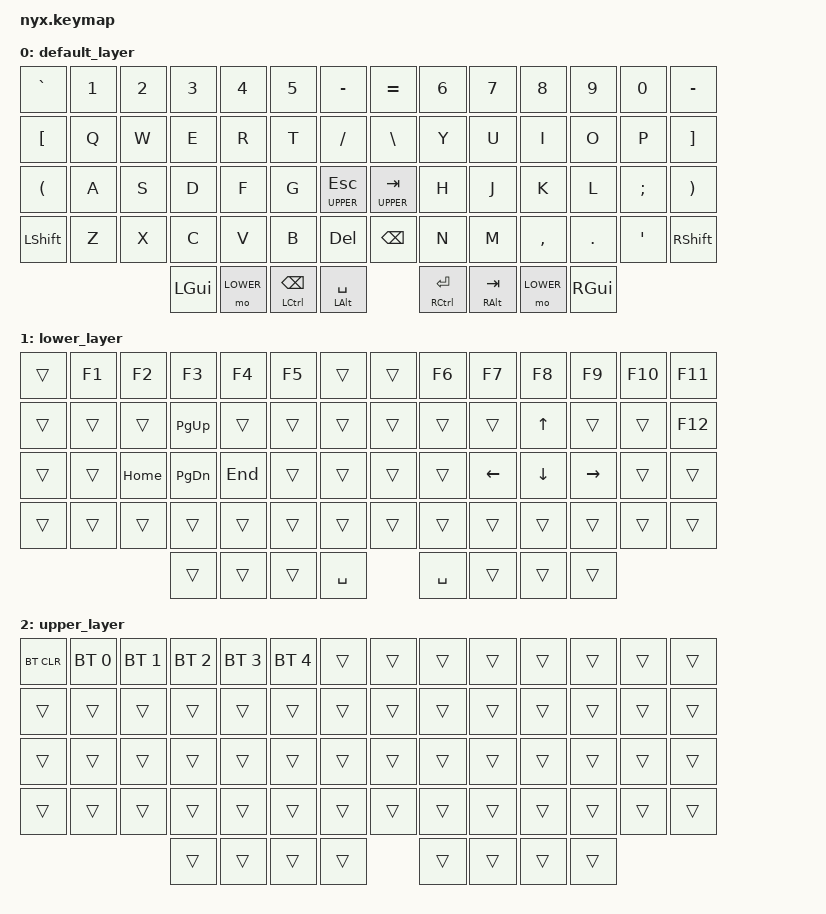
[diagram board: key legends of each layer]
/* -*- mode: dts; -*-
 *
 * Copyright (c) 2020 Tad Fisher
 *
 * SPDX-License-Identifier: MIT
 */

#include <behaviors.dtsi>
#include <dt-bindings/zmk/keys.h>
#include <dt-bindings/zmk/bt.h>
#include <dt-bindings/zmk/outputs.h>

#define DEFAULT 0
#define LOWER   1
#define UPPER   2

/ {
    behaviors {
        // This is mod-tap with the "balanced" flavor.
        // Improves the '&mt RCTRL SPACE' behavior when typing quickly.
        bmt: balanced_mod_tap {
			compatible = "zmk,behavior-hold-tap";
			label = "MOD_TAP";
			#binding-cells = <2>;
			flavor = "balanced";
			tapping-term-ms = <200>;
			bindings = <&kp>, <&kp>;
        };
    };
    keymap {
        compatible = "zmk,keymap";

        default_layer {
            // | `       | 1    | 2    | 3      | 4       | 5       | -          | =              | 6          | 7       | 8       | 9     | 0      | -       |
            // | [       | Q    | W    | E      | R       | T       | //         | \\             | Y          | U       | I       | O     | P      | ]       |
            // | (       | A    | S    | D      | F       | G       | ESC        | TAB            | H          | J       | K       | L     | ;      | )       |
            // | LSHIFT  | Z    | X    | C      | V       | B       | DEL        | BSPC           | N          | M       | ,       | .     | '      | RSHIFT  |
            // |         |      |      | LGUI   | FN      | LCTL    | LALT       | SPC / RCTL     | RET        | RCTL    | RALT    |       |        |         |
            bindings = <
                &kp GRAVE &kp N1 &kp N2 &kp N3   &kp N4    &kp N5    &kp MINUS      &kp EQUAL        &kp N6       &kp N7    &kp N8    &kp N9  &kp N0   &kp MINUS
                &kp LBKT  &kp Q  &kp W  &kp E    &kp R     &kp T     &kp FSLH       &kp BSLH         &kp Y        &kp U     &kp I     &kp O   &kp P    &kp RBKT
                &kp LPAR  &kp A  &kp S  &kp D    &kp F     &kp G     &lt UPPER ESC  &lt UPPER TAB    &kp H        &kp J     &kp K     &kp L   &kp SEMI &kp RPAR
                &kp LSHFT &kp Z  &kp X  &kp C    &kp V     &kp B     &kp DEL        &kp BSPC         &kp N        &kp M     &kp COMMA &kp DOT &kp APOS &kp RSHFT
                                        &kp LGUI &mo LOWER &mt LCTRL BSPC &mt LALT SPACE   &bmt RCTRL ENTER &mt RALT TAB &mo LOWER &kp RGUI
            >;
        };

        lower_layer {
            // |      | F1   | F2     | F3      | F4     | F5  |      |      | F6      | F7     | F8     | F9      | F10   | F11   |
            // |      |      |        | PG UP   |        |     |      |      |         |        | ↑      |         |       | F12   |
            // |      |      | HOME   | PG DOWN | END    |     |      |      |         | ←      | ↓      | →       |       |       |
            // |      |      |        |         |        |     |      |      |         |        |        |         |       |       |
            // |      |      |        |         |        |     |      |      | SPC     |        |        |         |       |       |
            bindings = <
                &trans &kp F1 &kp F2   &kp F3    &kp F4  &kp F5 &trans &trans &kp F6    &kp F7   &kp F8   &kp F9    &kp F10 &kp F11
                &trans &trans &trans   &kp PG_UP &trans  &trans &trans &trans &trans    &trans   &kp UP   &trans    &trans  &kp F12
                &trans &trans &kp HOME &kp PG_DN &kp END &trans &trans &trans &trans    &kp LEFT &kp DOWN &kp RIGHT &trans  &trans
                &trans &trans &trans   &trans    &trans  &trans &trans &trans &trans    &trans   &trans   &trans    &trans  &trans
                                                 &trans  &trans &trans &kp SPACE &kp SPACE &trans   &trans   &trans

            >;
        };

        upper_layer {
            // | BT_CLR   | BT_SEL 0   | BT_SEL 1   | BT_SEL 2   | BT_SEL 3   | BT_SEL 4   |      |      |      |      |      |      |      |      |
            // |          |            |            |            |            |            |      |      |      |      |      |      |      |      |
            // |          |            |            |            |            |            |      |      |      |      |      |      |      |      |
            // |          |            |            |            |            |            |      |      |      |      |      |      |      |      |
            // |          |            |            |            |            |            |      |      |      |      |      |      |      |      |
            bindings = <
                &bt BT_CLR &bt BT_SEL 0 &bt BT_SEL 1 &bt BT_SEL 2 &bt BT_SEL 3 &bt BT_SEL 4 &trans &trans &trans &trans &trans &trans &trans &trans
                &trans     &trans       &trans       &trans       &trans       &trans       &trans &trans &trans &trans &trans &trans &trans &trans
                &trans     &trans       &trans       &trans       &trans       &trans       &trans &trans &trans &trans &trans &trans &trans &trans
                &trans     &trans       &trans       &trans       &trans       &trans       &trans &trans &trans &trans &trans &trans &trans &trans
                                                     &trans       &trans       &trans       &trans &trans &trans &trans &trans

            >;
        };
    };

    combos {
        compatible = "zmk,combos";
        combo_upperl {
            timeout-ms = <50>;
            key-positions = <56 57>;
            bindings = <&mo UPPER>;
        };
        combo_upperr {
            timeout-ms = <50>;
            key-positions = <62 63>;
            bindings = <&mo UPPER>;
        };
    };
};
